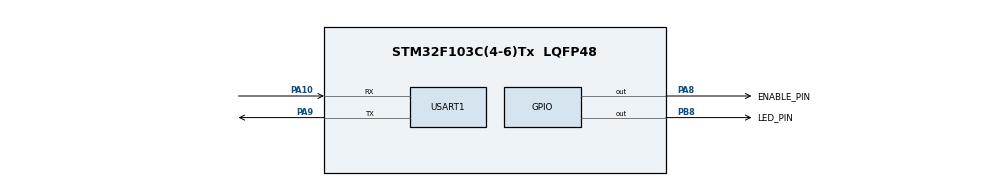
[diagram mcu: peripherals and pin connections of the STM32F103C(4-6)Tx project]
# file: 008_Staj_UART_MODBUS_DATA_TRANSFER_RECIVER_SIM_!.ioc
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Mcu.Family=STM32F1
Mcu.Name=STM32F103C(4-6)Tx
Mcu.Package=LQFP48
NVIC.PriorityGroup=NVIC_PRIORITYGROUP_4
NVIC.USART1_IRQn=true\:0\:0\:false\:false\:true\:true\:true\:true
PA10.Mode=Asynchronous
PA10.Signal=USART1_RX
PA13.Mode=Serial_Wire
PA13.Signal=SYS_JTMS-SWDIO
PA14.Mode=Serial_Wire
PA14.Signal=SYS_JTCK-SWCLK
PA8.GPIO_Label=ENABLE_PIN
PA8.Signal=GPIO_Output
PA9.Mode=Asynchronous
PA9.Signal=USART1_TX
PB8.GPIO_Label=LED_PIN
PB8.Signal=GPIO_Output
PC14-OSC32_IN.Mode=LSE-External-Oscillator
PC14-OSC32_IN.Signal=RCC_OSC32_IN
PC15-OSC32_OUT.Mode=LSE-External-Oscillator
PC15-OSC32_OUT.Signal=RCC_OSC32_OUT
PD0-OSC_IN.Mode=HSE-External-Oscillator
PD0-OSC_IN.Signal=RCC_OSC_IN
PD1-OSC_OUT.Mode=HSE-External-Oscillator
PD1-OSC_OUT.Signal=RCC_OSC_OUT
ProjectManager.HeapSize=0x200
ProjectManager.StackSize=0x400
ProjectManager.TargetToolchain=STM32CubeIDE
RCC.APB1Freq_Value=8000000
RCC.APB2Freq_Value=8000000
USART1.VirtualMode=VM_ASYNC
board=custom

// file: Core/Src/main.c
/* USER CODE BEGIN Header */
/**
  ******************************************************************************
  * @file           : main.c
  * @brief          : Main program body
  ******************************************************************************
  * @attention
  *
  * Copyright (c) 2024 STMicroelectronics.
  * All rights reserved.
  *
  * This software is licensed under terms that can be found in the LICENSE file
  * in the root directory of this software component.
  * If no LICENSE file comes with this software, it is provided AS-IS.
  *
  ******************************************************************************
  */
/* USER CODE END Header */
#include "main.h"
#include "string.h"

/* USER CODE BEGIN PD */
#define SLAVEADRESS 0x01
#define CRCLOW 0xE1
#define CRCHIGH 0xDD
#define PB8COILLOW 0x00
#define PB8COILHIGH 0x01
#define PIN_PB8_ADDRESS 0x08

/* USER CODE END PD */

UART_HandleTypeDef huart1;

void SystemClock_Config(void);
static void MX_GPIO_Init(void);
static void MX_USART1_UART_Init(void);

int main(void)
{

  /* MCU Configuration--------------------------------------------------------*/

  /* Reset of all peripherals, Initializes the Flash interface and the Systick. */
  HAL_Init();

  /* Configure the system clock */
  SystemClock_Config();

  /* Initialize all configured peripherals */
  MX_GPIO_Init();
  MX_USART1_UART_Init();

  /* Infinite loop */
  while (1)
  {

    /* USER CODE BEGIN 3 */
  void HAL_UART_RxCpltCallback(UART_HandleTypeDef *huart) {

	  if(huart -> Instance == USART1){
		  uint8_t BUFFER[50];
		  HAL_UART_Receive(huart, BUFFER, sizeof(BUFFER), 1000);

		  if(BUFFER[1]==SLAVEADRESS){
			uint16_t pinadress = (BUFFER[2] << 8 | BUFFER[3]);

			if(pinadress == PIN_PB8_ADDRESS ){

				if(BUFFER[5] == CRCLOW && BUFFER[6] == CRCHIGH){
					HAL_GPIO_WritePin(GPIOB, GPIO_PIN_8, SET);
				}

				else if(BUFFER[5] == 0x00 && BUFFER[6] == 0x00){
					HAL_GPIO_WritePin(GPIOB, GPIO_PIN_8, RESET);
				}

			}

		}
	  }

  }
  }
  /* USER CODE END 3 */
}

void SystemClock_Config(void)
{
  RCC_OscInitTypeDef RCC_OscInitStruct = {0};
  RCC_ClkInitTypeDef RCC_ClkInitStruct = {0};

  /** Initializes the RCC Oscillators according to the specified parameters
  * in the RCC_OscInitTypeDef structure.
  */
  RCC_OscInitStruct.OscillatorType = RCC_OSCILLATORTYPE_HSI;
  RCC_OscInitStruct.HSIState = RCC_HSI_ON;
  RCC_OscInitStruct.HSICalibrationValue = RCC_HSICALIBRATION_DEFAULT;
  RCC_OscInitStruct.PLL.PLLState = RCC_PLL_NONE;
  if (HAL_RCC_OscConfig(&RCC_OscInitStruct) != HAL_OK)
  {
    Error_Handler();
  }

  /** Initializes the CPU, AHB and APB buses clocks
  */
  RCC_ClkInitStruct.ClockType = RCC_CLOCKTYPE_HCLK|RCC_CLOCKTYPE_SYSCLK
                              |RCC_CLOCKTYPE_PCLK1|RCC_CLOCKTYPE_PCLK2;
  RCC_ClkInitStruct.SYSCLKSource = RCC_SYSCLKSOURCE_HSI;
  RCC_ClkInitStruct.AHBCLKDivider = RCC_SYSCLK_DIV1;
  RCC_ClkInitStruct.APB1CLKDivider = RCC_HCLK_DIV1;
  RCC_ClkInitStruct.APB2CLKDivider = RCC_HCLK_DIV1;

  if (HAL_RCC_ClockConfig(&RCC_ClkInitStruct, FLASH_LATENCY_0) != HAL_OK)
  {
    Error_Handler();
  }
}

static void MX_USART1_UART_Init(void)
{

  huart1.Instance = USART1;
  huart1.Init.BaudRate = 115200;
  huart1.Init.WordLength = UART_WORDLENGTH_8B;
  huart1.Init.StopBits = UART_STOPBITS_1;
  huart1.Init.Parity = UART_PARITY_NONE;
  huart1.Init.Mode = UART_MODE_TX_RX;
  huart1.Init.HwFlowCtl = UART_HWCONTROL_NONE;
  huart1.Init.OverSampling = UART_OVERSAMPLING_16;
  if (HAL_UART_Init(&huart1) != HAL_OK)
  {
    Error_Handler();
  }

}

static void MX_GPIO_Init(void)
{
  GPIO_InitTypeDef GPIO_InitStruct = {0};

  /* GPIO Ports Clock Enable */
  __HAL_RCC_GPIOC_CLK_ENABLE();
  __HAL_RCC_GPIOD_CLK_ENABLE();
  __HAL_RCC_GPIOA_CLK_ENABLE();
  __HAL_RCC_GPIOB_CLK_ENABLE();

  /*Configure GPIO pin Output Level */
  HAL_GPIO_WritePin(ENABLE_PIN_GPIO_Port, ENABLE_PIN_Pin, GPIO_PIN_RESET);

  /*Configure GPIO pin Output Level */
  HAL_GPIO_WritePin(LED_PIN_GPIO_Port, LED_PIN_Pin, GPIO_PIN_RESET);

  /*Configure GPIO pin : ENABLE_PIN_Pin */
  GPIO_InitStruct.Pin = ENABLE_PIN_Pin;
  GPIO_InitStruct.Mode = GPIO_MODE_OUTPUT_PP;
  GPIO_InitStruct.Pull = GPIO_NOPULL;
  GPIO_InitStruct.Speed = GPIO_SPEED_FREQ_LOW;
  HAL_GPIO_Init(ENABLE_PIN_GPIO_Port, &GPIO_InitStruct);

  /*Configure GPIO pin : LED_PIN_Pin */
  GPIO_InitStruct.Pin = LED_PIN_Pin;
  GPIO_InitStruct.Mode = GPIO_MODE_OUTPUT_PP;
  GPIO_InitStruct.Pull = GPIO_NOPULL;
  GPIO_InitStruct.Speed = GPIO_SPEED_FREQ_LOW;
  HAL_GPIO_Init(LED_PIN_GPIO_Port, &GPIO_InitStruct);

}

void Error_Handler(void)
{
  __disable_irq();
  while (1)
  {
  }
}
